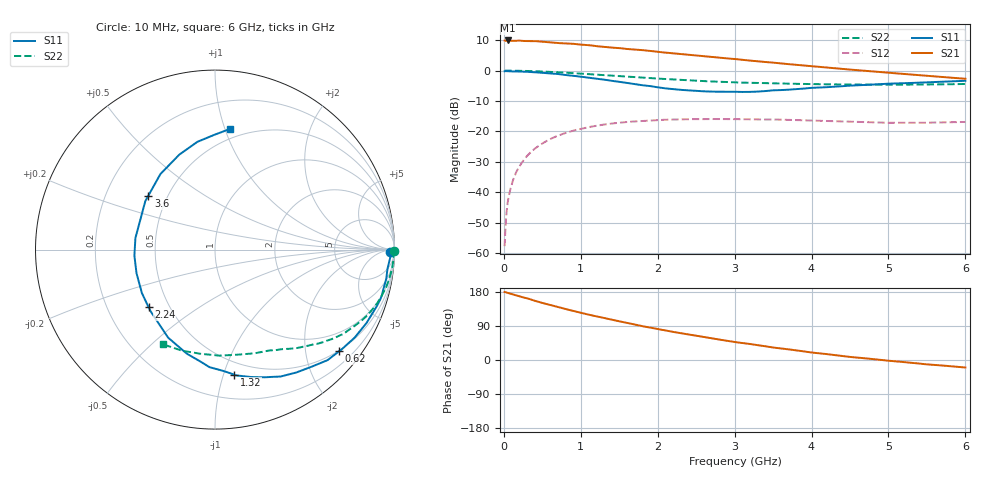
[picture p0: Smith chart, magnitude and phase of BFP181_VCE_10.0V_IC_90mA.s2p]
! Infineon Technologies  Discrete & RF Semiconductors
! BFP181
! VCE = 10.0V,  IC =  90 mA
! Common Emitter S-Parameters:  Jan 2016
# GHz  S  MA  R  50
!  f  S11  S21  S12  S22
! GHz  MAG  ANG  MAG  ANG  MAG  ANG  MAG  ANG
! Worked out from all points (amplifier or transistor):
!   210 points, 10 MHz to 6 GHz, reference 50 ohm
!   highest |S21| = 9.9 dB at 50 MHz (marker M1)
!   |S21| within 3 dB of that: start of sweep to 1.717 GHz
!   unconditionally stable (mu >= 1): 3.287 GHz to end of sweep
!   at 185 MHz: K = 0.08, MSG = 21.0 dB, |S12| = -32.3 dB
!   at 1.52 GHz: K = 0.50, MSG = 12.2 dB, |S12| = -17.1 dB
!   at 6 GHz: K = 1.30, MAG = 3.8 dB, |S12| = -16.9 dB
!   S11 on the Smith chart (normalised r, x): 10 MHz: 59, -31; 620 MHz: 0.48, -2.73; 1.32 GHz: 0.39, -1.08; 2.24 GHz: 0.38, -0.32; 3.6 GHz: 0.39, +0.30; 6 GHz: 0.42, +1.05
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0.01  0.9737 -0.8  3.119 179.4  0.0013 92.4  0.9974 -0.3
0.03  0.9793 -1.9  3.099 178.5  0.0039 89.7  0.9964 -0.9
0.05  0.9761 -3.0  3.123 177.1  0.0068 92.4  0.9958 -1.6
0.12  0.967 -7.7  3.081 173.0  0.0159 83.5  0.9947 -3.7
0.22  0.9635 -14.1  3.09 167.1  0.0288 80.1  0.9902 -6.9
0.42  0.9336 -27.1  3.04 155.2  0.0541 71.8  0.9742 -12.9
0.62  0.8941 -39.3  2.901 144.3  0.0766 63.4  0.9499 -18.6
0.9  0.821 -56.5  2.753 129.5  0.1028 52.6  0.907 -25.9
1.02  0.7887 -63.9  2.659 123.7  0.1116 48.7  0.8858 -28.7
1.1  0.7635 -68.7  2.622 119.6  0.1176 46.0  0.8726 -30.5
1.32  0.7042 -81.4  2.436 110.1  0.1306 39.0  0.8376 -35.3
1.5  0.6556 -92.7  2.345 102.1  0.139 34.2  0.8087 -38.6
1.7  0.601 -105.1  2.221 93.6  0.146 29.1  0.7779 -42.3
2.02  0.5259 -124.8  2.019 81.0  0.1543 22.4  0.7355 -47.1
2.24  0.4898 -139.1  1.896 72.8  0.1574 18.0  0.7096 -50.7
2.66  0.4525 -167.0  1.687 58.7  0.1596 11.3  0.6649 -56.8
3.1  0.4451 166.3  1.501 44.9  0.1586 5.2  0.6337 -63.1
3.6  0.4776 141.1  1.311 30.6  0.1561 0.3  0.6136 -70.8
4.1  0.5255 122.6  1.15 17.7  0.1499 -3.2  0.5963 -79.8
4.5  0.5653 110.6  1.038 8.1  0.1447 -5.1  0.5911 -87.7
5.1  0.6135 97.4  0.9 -3.6  0.1386 -4.7  0.5858 -99.8
6  0.6788 82.7  0.733 -19.8  0.143 -2.1  0.602 -118.8
